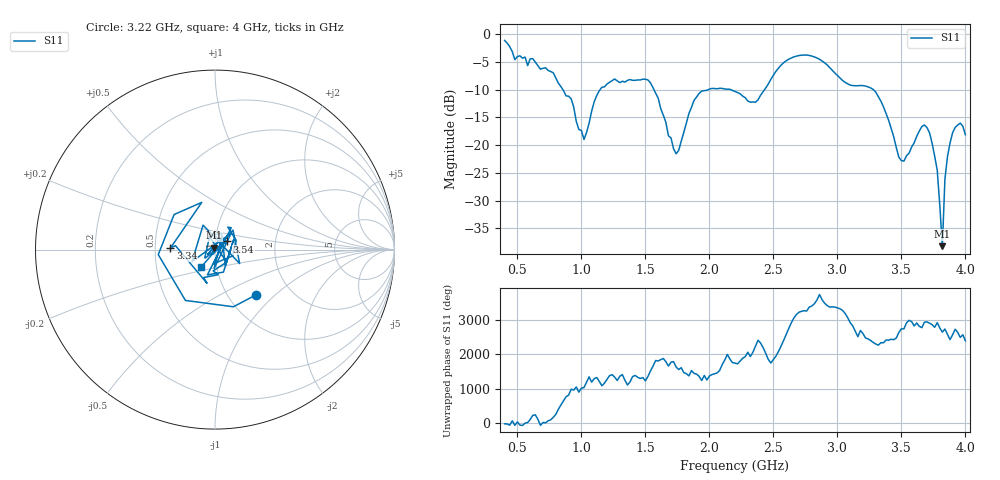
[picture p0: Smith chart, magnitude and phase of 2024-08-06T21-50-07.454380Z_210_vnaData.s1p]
!Created with skrf (http://scikit-rf.org).
# Hz S RI R 50.0
!freq ReS11 ImS11
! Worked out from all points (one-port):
!   181 points, 400 MHz to 4 GHz, reference 50 ohm
!   lowest |S11| = -38.2 dB at 3.82 GHz (marker M1), VSWR 1.02, Z = 49.3 + j1 ohm
!   |S11| at or under -10 dB: 855.5 MHz to 1.146 GHz (290.7 MHz wide, 29 % of centre); 1.567 GHz to 1.991 GHz (424.6 MHz wide, 23.9 % of centre); 3.281 GHz to end of sweep (the widest 3 of 4)
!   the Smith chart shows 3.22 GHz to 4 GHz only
!   S11 on the Smith chart (normalised r, x): 3.22 GHz: 1.34, -0.77; 3.34 GHz: 0.60, +0.01; 3.54 GHz: 1.14, +0.10; 4 GHz: 0.84, -0.17
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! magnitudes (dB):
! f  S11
! 400 MHz  -1.1
! 480 MHz  -4.6
! 620 MHz  -4.4
! 860 MHz  -10.2
! 1.02 GHz  -19.0
! 1.14 GHz  -10.2
! 1.3 GHz  -8.7
! 1.52 GHz  -8.3
! 1.76 GHz  -21.0
! 1.92 GHz  -10.7
! 2.2 GHz  -10.3
! 2.36 GHz  -12.3
! 2.66 GHz  -4.1
! 2.84 GHz  -4.3
! 3.1 GHz  -9.2
! 3.22 GHz  -9.4
! 3.34 GHz  -12.1
! 3.48 GHz  -22.2
! 3.54 GHz  -21.9
! 3.56 GHz  -21.4
! 3.66 GHz  -16.7
! 3.72 GHz  -17.8
! 3.78 GHz  -24.5
! 3.82 GHz  -38.2
! 3.84 GHz  -26.2
! 3.88 GHz  -19.6
! 3.96 GHz  -16.0
! 4 GHz  -18.1
